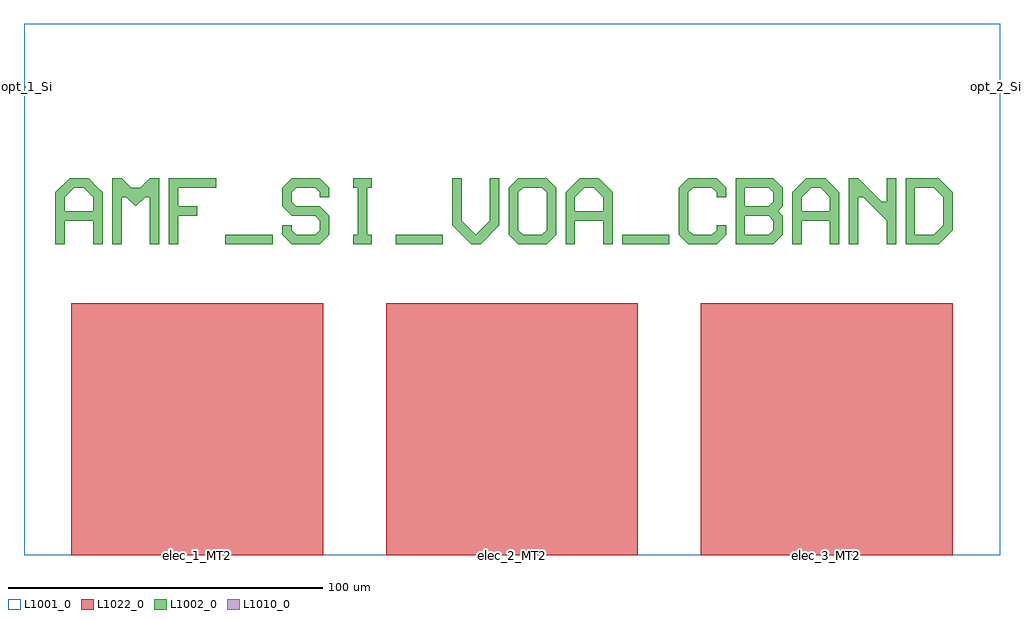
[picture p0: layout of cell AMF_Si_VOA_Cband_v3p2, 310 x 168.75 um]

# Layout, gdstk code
import gdstk
lib = gdstk.Library(unit=1e-6, precision=1e-09)
def R(c, l, rs):  # rectangles x0, y0, x1, y1
    for r in rs: c.add(gdstk.rectangle(r[:2], r[2:], *l))
def A(c, l, x, y, w, h, nx, ny, dx, dy):  # array of equal rectangles
    R(c, l, [(x+i*dx, y+j*dy, x+i*dx+w, y+j*dy+h) for i in range(nx) for j in range(ny)])
def P(c, l, *ps):  # polygons
    for p in ps: c.add(gdstk.Polygon(p, *l))
L1001_0 = (1001, 0)
L1002_0 = (1002, 0)
L1010_0 = (1010, 0)
L1022_0 = (1022, 0)

amf_si_voa_cband_v3p2 = lib.new_cell('AMF_Si_VOA_Cband_v3p2')
R(amf_si_voa_cband_v3p2, L1001_0, [(0,-148.75,310,20)])
R(amf_si_voa_cband_v3p2, L1002_0, [(64,-50,79,-47), (118,-50,133,-47), (190,-50,205,-47)])
P(amf_si_voa_cband_v3p2, L1002_0, [(10,-50),(10,-33.5),(14.5,-29),(20.5,-29),(23.5,-32),(16,-32),(13,-35),(13,-39.5),(22,-39.5),(22,-35),(19,-32),(23.5,-32),(25,-33.5),(25,-50),(22,-50),(22,-42.5),(13,-42.5),(13,-50)],
  [(28,-50),(28,-29),(31,-29),(34,-32),(37,-32),(40,-29),(43,-29),(43,-50),(40,-50),(40,-35),(38.5,-35),(35.5,-38),(32.5,-35),(31,-35),(31,-50)],
  [(46,-50),(46,-29),(61,-29),(61,-32),(49,-32),(49,-38),(55,-38),(55,-41),(49,-41),(49,-50)],
  [(85,-50),(82,-47),(82,-44),(85,-44),(85,-45.5),(86.5,-47),(92.5,-47),(94,-45.5),(94,-42.5),(92.5,-41),(85,-41),(82,-38),(82,-32),(85,-29),(94,-29),(97,-32),(97,-35),(94,-35),(94,-33.5),(92.5,-32),(86.5,-32),(85,-33.5),(85,-36.5),(86.5,-38),(94,-38),(97,-41),(97,-47),(94,-50)],
  [(104.5,-50),(104.5,-47),(106,-47),(106,-32),(104.5,-32),(104.5,-29),(110.5,-29),(110.5,-32),(109,-32),(109,-47),(110.5,-47),(110.5,-50)],
  [(142,-50),(136,-44),(136,-29),(139,-29),(139,-42.5),(143.5,-47),(148,-42.5),(148,-29),(151,-29),(151,-44),(145,-50)],
  [(157,-50),(154,-47),(154,-32),(157,-29),(166,-29),(169,-32),(169,-39.5),(166,-39.5),(166,-33.5),(164.5,-32),(158.5,-32),(157,-33.5),(157,-45.5),(158.5,-47),(164.5,-47),(166,-45.5),(166,-39.5),(169,-39.5),(169,-47),(166,-50)],
  [(172,-50),(172,-33.5),(176.5,-29),(182.5,-29),(185.5,-32),(178,-32),(175,-35),(175,-39.5),(184,-39.5),(184,-35),(181,-32),(185.5,-32),(187,-33.5),(187,-50),(184,-50),(184,-42.5),(175,-42.5),(175,-50)],
  [(211,-50),(208,-47),(208,-32),(211,-29),(220,-29),(223,-32),(223,-35),(220,-35),(220,-33.5),(218.5,-32),(212.5,-32),(211,-33.5),(211,-45.5),(212.5,-47),(218.5,-47),(220,-45.5),(220,-44),(223,-44),(223,-47),(220,-50)],
  [(226,-50),(226,-29),(238,-29),(241,-32),(229,-32),(229,-38),(236.5,-38),(238,-36.5),(238,-33.5),(236.5,-32),(241,-32),(241,-38),(239.5,-39.5),(241,-41),(229,-41),(229,-47),(236.5,-47),(238,-45.5),(238,-42.5),(236.5,-41),(241,-41),(241,-47),(238,-50)],
  [(244,-50),(244,-33.5),(248.5,-29),(254.5,-29),(257.5,-32),(250,-32),(247,-35),(247,-39.5),(256,-39.5),(256,-35),(253,-32),(257.5,-32),(259,-33.5),(259,-50),(256,-50),(256,-42.5),(247,-42.5),(247,-50)],
  [(262,-50),(262,-29),(265,-29),(272.5,-36.5),(274,-36.5),(274,-29),(277,-29),(277,-50),(274,-50),(274,-42.5),(266.5,-35),(265,-35),(265,-50)],
  [(280,-50),(280,-29),(290.5,-29),(293.5,-32),(283,-32),(283,-47),(289,-47),(292,-44),(292,-35),(289,-32),(293.5,-32),(295,-33.5),(295,-45.5),(290.5,-50)])
R(amf_si_voa_cband_v3p2, L1010_0, [(0,-0.25,0.5,0.25), (309.5,-0.25,310,0.25)])
A(amf_si_voa_cband_v3p2, L1022_0, 15, -148.75, 80, 80, 3, 1, 100, 0)
amf_si_voa_cband_v3p2.add(gdstk.Label('opt_2_Si', (310,0), layer=1010, texttype=0))
amf_si_voa_cband_v3p2.add(gdstk.Label('opt_1_Si', (0,0), layer=1010, texttype=0))
amf_si_voa_cband_v3p2.add(gdstk.Label('elec_1_MT2', (55,-148.75), layer=1022, texttype=0))
amf_si_voa_cband_v3p2.add(gdstk.Label('elec_2_MT2', (155,-148.75), layer=1022, texttype=0))
amf_si_voa_cband_v3p2.add(gdstk.Label('elec_3_MT2', (255,-148.75), layer=1022, texttype=0))

lib.write_gds('AMF_Si_VOA_Cband_v3p2.gds')
